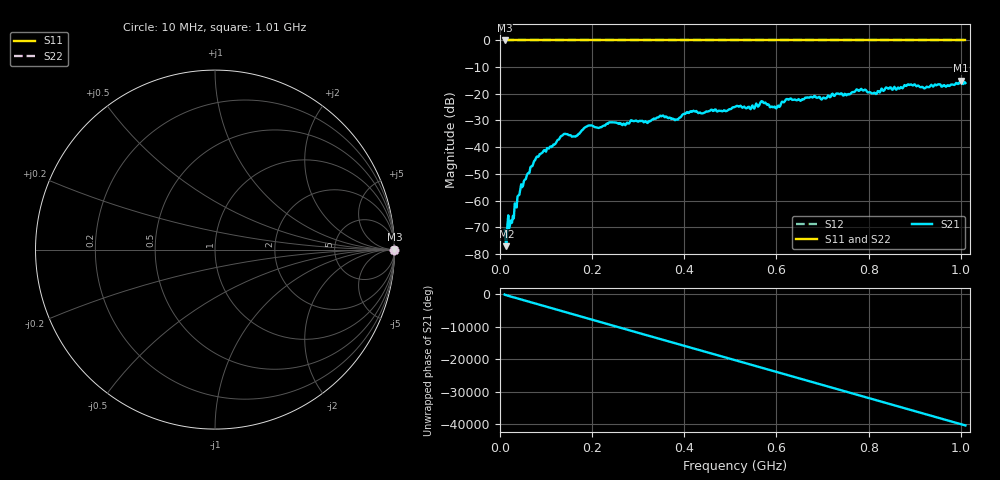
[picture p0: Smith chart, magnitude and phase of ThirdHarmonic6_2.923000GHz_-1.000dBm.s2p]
! 8/17/2025 8:08:31 AM
! C:\ANRITSUVNA\TEMP\TEMP.S2P
! CHANNEL.1
! TR.MEASUREMENT
! RAW.DATA
! RF.CORRECTION.OFF
! AVERAGING.OFF
! IF.BANDWIDTH: 5KHZ
! SWEEPTYPE:  FREQ.SWEEP(Linear)
! Reference Plane Port Info
! PORT:  PORT1  PORT2
! DISTANCE:  0  m  0  m
! TIME:  0  s  0  s
! PHASE.OFFSET:  0  deg.  0  deg.
! LOSS:  0  dB  0  dB
! REF.LOSS:  0  dB  0  dB
! REF.FREQ:  0  Hz  0  Hz
! Power Info
! POWER:  -20  dBm  -20  dBm
! EFF.POWER:  -20  dBm  -20  dBm
! SOURCE.ATTEN:  0  dB  0  dB
! TEST.ATTEN:  0  dB  0  dB
# GHZ S RI R 50.0
! FREQ.GHZ  S11RE  S11IM  S21RE  S21IM  S12RE  S12IM  S22RE  S22IM
!; PortSelection: Port_12
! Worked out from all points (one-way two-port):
!   501 points, 10 MHz to 1.01 GHz, reference 50 ohm
!   highest |S21| = -15.05 dB at 1 GHz (marker M1); lowest = -77.1 dB at 14 MHz (marker M2)
!   lowest |S11| = 0.0 dB at 10 MHz (marker M3)
!   |S11| at or under -10 dB: nowhere
!   |S22| runs from 0.0 to 0.0 dB; largest |S21 - S12| = 1.2
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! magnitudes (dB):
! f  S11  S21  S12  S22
! 10 MHz  0.0  -71.1  0.0  0.0
! 14 MHz  0.0  -77.1  0.0  0.0
! 26 MHz  0.0  -68.3  0.0  0.0
! 42 MHz  0.0  -57.8  0.0  0.0
! 78 MHz  0.0  -44.1  0.0  0.0
! 136 MHz  0.0  -35.5  0.0  0.0
! 164 MHz  0.0  -36.1  0.0  0.0
! 178 MHz  0.0  -33.6  0.0  0.0
! 344 MHz  0.0  -28.8  0.0  0.0
! 382 MHz  0.0  -29.6  0.0  0.0
! 416 MHz  0.0  -26.8  0.0  0.0
! 510 MHz  0.0  -24.9  0.0  0.0
! 548 MHz  0.0  -24.4  0.0  0.0
! 570 MHz  0.0  -22.9  0.0  0.0
! 596 MHz  0.0  -24.8  0.0  0.0
! 624 MHz  0.0  -22.0  0.0  0.0
! 678 MHz  0.0  -21.4  0.0  0.0
! 780 MHz  0.0  -18.8  0.0  0.0
! 814 MHz  0.0  -19.7  0.0  0.0
! 844 MHz  0.0  -18.1  0.0  0.0
! 1 GHz  0.0  -15.0  0.0  0.0
! 1.01 GHz  0.0  -16.0  0.0  0.0
